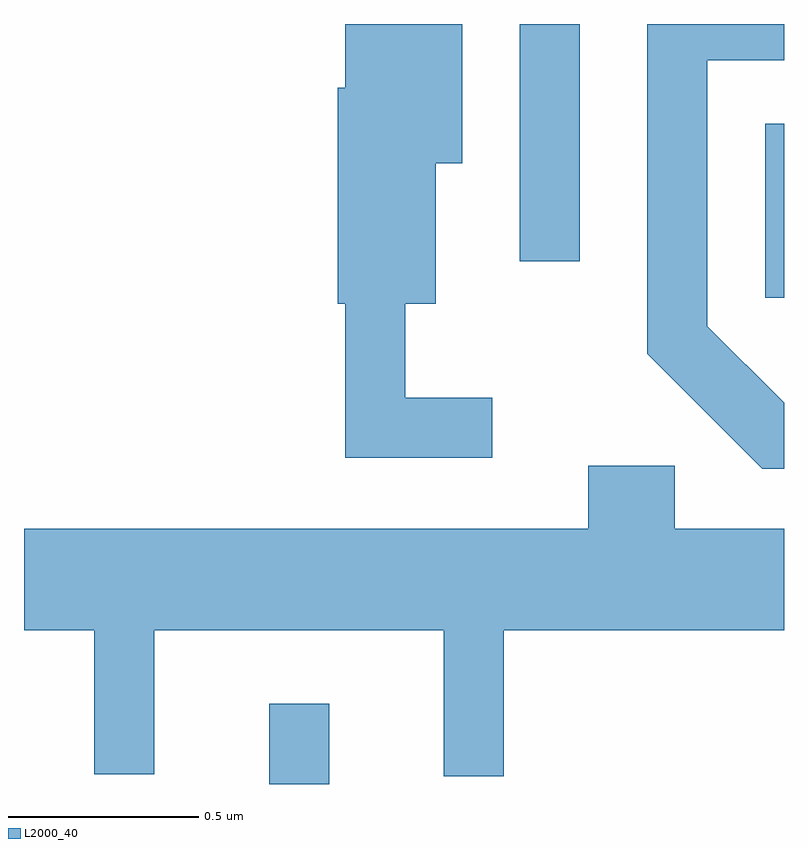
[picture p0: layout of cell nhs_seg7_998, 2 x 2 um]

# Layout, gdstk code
import gdstk
lib = gdstk.Library(unit=1e-6, precision=1e-09)
def R(c, l, rs):  # rectangles x0, y0, x1, y1
    for r in rs: c.add(gdstk.rectangle(r[:2], r[2:], *l))
def P(c, l, *ps):  # polygons
    for p in ps: c.add(gdstk.Polygon(p, *l))
L2000_40 = (2000, 40)

nhs_seg7_998 = lib.new_cell('nhs_seg7_998')
R(nhs_seg7_998, L2000_40, [(193.256,1707.252,193.414,1707.463), (194.561,1708.531,194.611,1708.989), (193.916,1708.628,194.074,1709.252)])
P(nhs_seg7_998, L2000_40, [(194.611,1708.255),(194.409,1708.457),(194.409,1709.156),(194.611,1709.156),(194.611,1709.252),(194.251,1709.252),(194.251,1708.384),(194.554,1708.081),(194.611,1708.081)],
  [(193.843,1708.269),(193.614,1708.269),(193.614,1708.516),(193.694,1708.516),(193.694,1708.886),(193.764,1708.886),(193.764,1709.252),(193.456,1709.252),(193.456,1709.084),(193.436,1709.084),(193.436,1708.516),(193.456,1708.516),(193.456,1708.111),(193.843,1708.111)],
  [(193.874,1707.656),(194.611,1707.656),(194.611,1707.924),(194.324,1707.924),(194.324,1708.089),(194.096,1708.089),(194.096,1707.924),(192.611,1707.924),(192.611,1707.656),(192.796,1707.656),(192.796,1707.278),(192.954,1707.278),(192.954,1707.656),(193.716,1707.656),(193.716,1707.273),(193.874,1707.273)])

lib.write_gds('nhs_seg7_998.gds')
